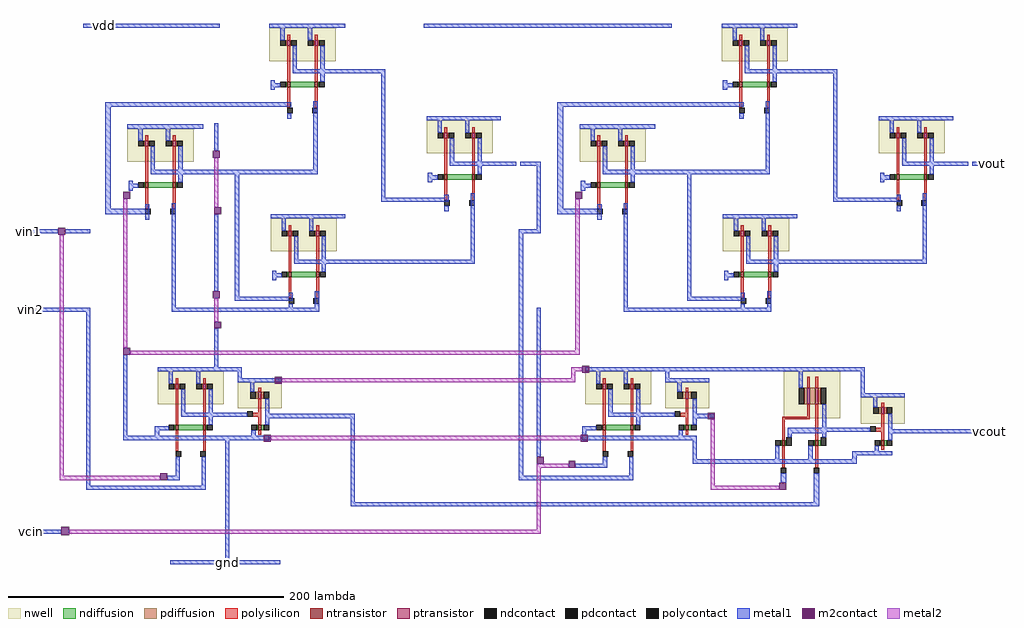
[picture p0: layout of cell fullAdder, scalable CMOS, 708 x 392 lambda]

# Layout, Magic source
magic
tech scmos
<< metal1 >>
rect -843 -107 -744 -104
rect -596 -107 -416 -104
rect -748 -196 -745 -176
rect -526 -207 -511 -204
rect -198 -207 -178 -204
rect -884 -256 -861 -253
rect -856 -256 -838 -253
rect -748 -298 -745 -242
rect -514 -253 -511 -207
rect -527 -256 -511 -253
rect -884 -313 -838 -310
rect -841 -439 -838 -313
rect -814 -403 -811 -344
rect -748 -355 -745 -325
rect -699 -390 -646 -387
rect -814 -406 -788 -403
rect -776 -432 -773 -423
rect -782 -435 -773 -432
rect -757 -439 -754 -425
rect -841 -442 -754 -439
rect -886 -474 -859 -471
rect -740 -493 -737 -403
rect -649 -451 -646 -390
rect -527 -432 -524 -256
rect -514 -418 -511 -310
rect -420 -356 -328 -353
rect -241 -401 -178 -398
rect -401 -420 -398 -404
rect -401 -423 -338 -420
rect -486 -426 -463 -423
rect -447 -432 -444 -423
rect -527 -435 -444 -432
rect -337 -437 -333 -435
rect -313 -451 -309 -433
rect -649 -454 -309 -451
rect -780 -496 -700 -493
<< m2contact >>
rect -749 -201 -744 -196
rect -814 -231 -809 -226
rect -748 -242 -743 -237
rect -861 -257 -856 -252
rect -486 -231 -481 -226
rect -749 -303 -744 -298
rect -748 -325 -743 -320
rect -814 -344 -809 -339
rect -704 -365 -699 -360
rect -787 -435 -782 -430
rect -859 -475 -853 -469
rect -712 -407 -707 -402
rect -481 -357 -476 -352
rect -390 -391 -385 -386
rect -482 -407 -477 -402
rect -514 -423 -509 -418
rect -491 -426 -486 -421
rect -338 -442 -333 -437
<< metal2 >>
rect -860 -432 -857 -257
rect -814 -339 -811 -231
rect -748 -237 -745 -201
rect -748 -320 -745 -303
rect -486 -341 -483 -231
rect -809 -344 -483 -341
rect -489 -356 -481 -353
rect -489 -361 -486 -356
rect -699 -364 -486 -361
rect -707 -406 -482 -403
rect -514 -426 -491 -423
rect -860 -435 -787 -432
rect -514 -471 -511 -426
rect -388 -439 -385 -391
rect -388 -442 -338 -439
rect -853 -474 -511 -471
use XOR2IN  XOR2IN_1
transform 1 0 -408 0 1 -205
box -106 -118 213 101
use XOR2IN  XOR2IN_0
transform 1 0 -736 0 1 -205
box -106 -118 213 101
use AND2IN  AND2IN_0
transform 1 0 -789 0 1 -411
box -2 -15 94 58
use AND2IN  AND2IN_1
transform 1 0 -479 0 1 -411
box -2 -15 94 58
use OR2IN  OR2IN_0
transform 1 0 -316 0 1 -381
box -25 -54 77 28
<< labels >>
rlabel metal1 -828 -106 -827 -105 5 vdd
rlabel metal1 -883 -255 -882 -254 3 vin1
rlabel metal1 -882 -312 -881 -311 3 vin2
rlabel metal1 -184 -206 -183 -205 7 vout
rlabel metal1 -186 -400 -185 -399 1 vcout
rlabel metal1 -739 -495 -738 -494 1 gnd
rlabel metal1 -882 -473 -879 -472 1 vcin
<< end >>

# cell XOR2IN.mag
magic
tech scmos
<< metal1 >>
rect 61 99 62 100
rect 75 98 83 101
rect 75 65 112 68
rect 29 58 32 60
rect 29 57 33 58
rect 29 53 32 57
rect -91 41 44 44
rect -91 -33 -87 41
rect -38 26 -37 27
rect -28 25 -20 28
rect 60 -5 63 45
rect -29 -8 63 -5
rect -74 -20 -71 -13
rect -62 -33 -59 -30
rect -91 -37 -59 -33
rect -43 -105 -40 -29
rect 3 -97 6 -8
rect 109 -25 112 65
rect 189 31 196 34
rect 189 -2 207 1
rect 143 -14 146 -7
rect 155 -25 158 -23
rect 109 -28 158 -25
rect 76 -40 83 -37
rect 174 -70 177 -22
rect 76 -73 177 -70
rect 30 -85 33 -78
rect 42 -97 45 -94
rect 3 -100 45 -97
rect 61 -105 64 -93
rect -43 -108 64 -105
use NAND2IN  NAND2IN_0
transform 1 0 -59 0 1 5
box -16 -35 32 23
use NAND2IN  NAND2IN_1
transform 1 0 44 0 1 78
box -16 -35 32 23
use NAND2IN  NAND2IN_2
transform 1 0 45 0 1 -60
box -16 -35 32 23
use NAND2IN  NAND2IN_3
transform 1 0 158 0 1 11
box -16 -35 32 23
<< labels >>
rlabel metal1 -62 -36 -61 -35 1 vin1
rlabel metal1 -42 -36 -41 -35 1 vin2
rlabel metal1 -74 -17 -73 -16 1 gnd
rlabel metal1 30 -82 31 -81 1 gnd
rlabel metal1 29 56 30 57 1 gnd
rlabel metal1 143 -11 144 -10 1 gnd
rlabel metal1 194 32 195 33 7 vdd
rlabel metal1 81 99 82 100 5 vdd
rlabel metal1 80 -39 81 -38 1 vdd
rlabel metal1 -23 26 -22 27 1 vdd
rlabel metal1 198 -1 199 0 1 vout
<< end >>

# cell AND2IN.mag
magic
tech scmos
<< metal1 >>
rect 44 55 61 58
rect 58 47 61 55
rect 46 22 63 25
rect 84 21 94 24
rect -2 12 5 15
rect -2 8 1 12
rect -2 5 68 8
rect 13 -15 16 -11
rect 32 -15 35 -11
use NAND2IN  NAND2IN_0
transform 1 0 16 0 1 35
box -16 -46 32 23
use NOT  NOT_0
transform 1 0 65 0 1 31
box -7 -26 25 19
<< labels >>
rlabel metal1 -1 13 0 14 3 gnd
rlabel metal1 59 52 60 53 1 vdd
rlabel metal1 92 22 93 23 7 vout
rlabel metal1 14 -14 15 -13 1 vin1
rlabel metal1 33 -14 34 -13 1 vin2
<< end >>

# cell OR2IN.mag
magic
tech scmos
<< nwell >>
rect -19 -9 22 25
<< ntransistor >>
rect -20 -29 -18 -25
rect 4 -29 6 -25
<< ptransistor >>
rect -2 1 0 13
rect 4 1 6 13
<< ndiffusion >>
rect -21 -29 -20 -25
rect -18 -29 -17 -25
rect 3 -29 4 -25
rect 6 -29 8 -25
<< pdiffusion >>
rect -4 1 -2 13
rect 0 1 4 13
rect 6 1 8 13
<< ndcontact >>
rect -25 -29 -21 -25
rect -17 -29 -13 -23
rect -1 -29 3 -25
rect 8 -29 12 -23
<< pdcontact >>
rect -8 1 -4 13
rect 8 1 12 13
<< polysilicon >>
rect -2 13 0 21
rect 4 13 6 21
rect -2 -8 0 1
rect -20 -10 0 -8
rect -20 -25 -18 -10
rect 4 -25 6 1
rect -20 -45 -18 -29
rect 4 -45 6 -29
<< polycontact >>
rect -21 -49 -17 -45
rect 3 -49 7 -45
<< metal1 >>
rect -19 25 40 28
rect -8 13 -5 25
rect 37 6 40 25
rect 9 -16 12 1
rect -16 -19 42 -16
rect -16 -20 12 -19
rect 63 -20 77 -17
rect -16 -23 -13 -20
rect 9 -23 12 -20
rect -25 -39 -22 -29
rect -1 -39 2 -29
rect 31 -36 47 -33
rect 31 -39 34 -36
rect -25 -42 34 -39
rect -21 -54 -17 -49
rect 3 -54 7 -49
use NOT  NOT_0
transform 1 0 44 0 1 -10
box -7 -26 25 19
<< labels >>
rlabel metal1 -6 26 -5 27 5 vdd
rlabel metal1 -14 -41 -13 -40 1 gnd
rlabel metal1 -19 -52 -18 -51 1 vin1
rlabel metal1 5 -52 6 -51 1 vin2
rlabel metal1 75 -19 76 -18 7 vout
<< end >>

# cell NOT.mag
magic
tech scmos
<< nwell >>
rect -7 -3 25 16
<< ntransistor >>
rect 8 -19 10 -15
<< ptransistor >>
rect 8 4 10 9
<< ndiffusion >>
rect 7 -19 8 -15
rect 10 -19 12 -15
<< pdiffusion >>
rect 6 4 8 9
rect 10 4 12 9
<< ndcontact >>
rect 3 -19 7 -15
rect 12 -19 16 -15
<< pdcontact >>
rect 2 4 6 9
rect 12 4 16 9
<< polysilicon >>
rect 8 9 10 12
rect 8 -6 10 4
rect 4 -9 10 -6
rect 8 -15 10 -9
rect 8 -22 10 -19
<< polycontact >>
rect 0 -9 4 -5
<< metal1 >>
rect -7 16 25 19
rect 2 9 5 16
rect -3 -9 0 -6
rect 13 -7 16 4
rect 13 -10 20 -7
rect 13 -15 16 -10
rect 3 -23 6 -19
rect 2 -26 16 -23
<< labels >>
rlabel metal1 6 17 9 18 5 vdd
rlabel metal1 -3 -8 -2 -7 3 in
rlabel metal1 18 -9 19 -8 1 out
rlabel metal1 9 -25 10 -24 1 gnd
<< end >>

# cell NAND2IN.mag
magic
tech scmos
<< nwell >>
rect -16 -4 32 20
<< ntransistor >>
rect -3 -23 -1 -19
rect 17 -23 19 -19
<< ptransistor >>
rect -3 7 -1 11
rect 17 7 19 11
<< ndiffusion >>
rect -4 -23 -3 -19
rect -1 -23 17 -19
rect 19 -23 20 -19
<< pdiffusion >>
rect -4 7 -3 11
rect -1 7 0 11
rect 16 7 17 11
rect 19 7 20 11
<< ndcontact >>
rect -8 -23 -4 -19
rect 20 -23 24 -19
<< pdcontact >>
rect -8 7 -4 11
rect 0 7 4 11
rect 12 7 16 11
rect 20 7 24 11
<< polysilicon >>
rect -3 11 -1 15
rect 17 11 19 15
rect -3 -19 -1 7
rect 17 -19 19 7
rect -3 -38 -1 -23
rect 17 -38 19 -23
<< polycontact >>
rect -3 -42 1 -38
rect 15 -42 19 -38
<< metal1 >>
rect -16 20 32 23
rect -8 11 -5 20
rect 12 11 15 20
rect 1 -10 4 7
rect 21 -10 24 7
rect 1 -13 32 -10
rect 21 -19 24 -13
rect -13 -23 -8 -20
rect -3 -46 0 -42
rect 16 -46 19 -42
<< labels >>
rlabel metal1 7 21 8 22 5 vdd
rlabel metal1 28 -12 29 -11 7 vout
rlabel metal1 -12 -22 -11 -21 3 gnd
rlabel metal1 -2 -44 -1 -43 1 vin1
rlabel metal1 17 -44 18 -43 1 vin2
<< end >>
